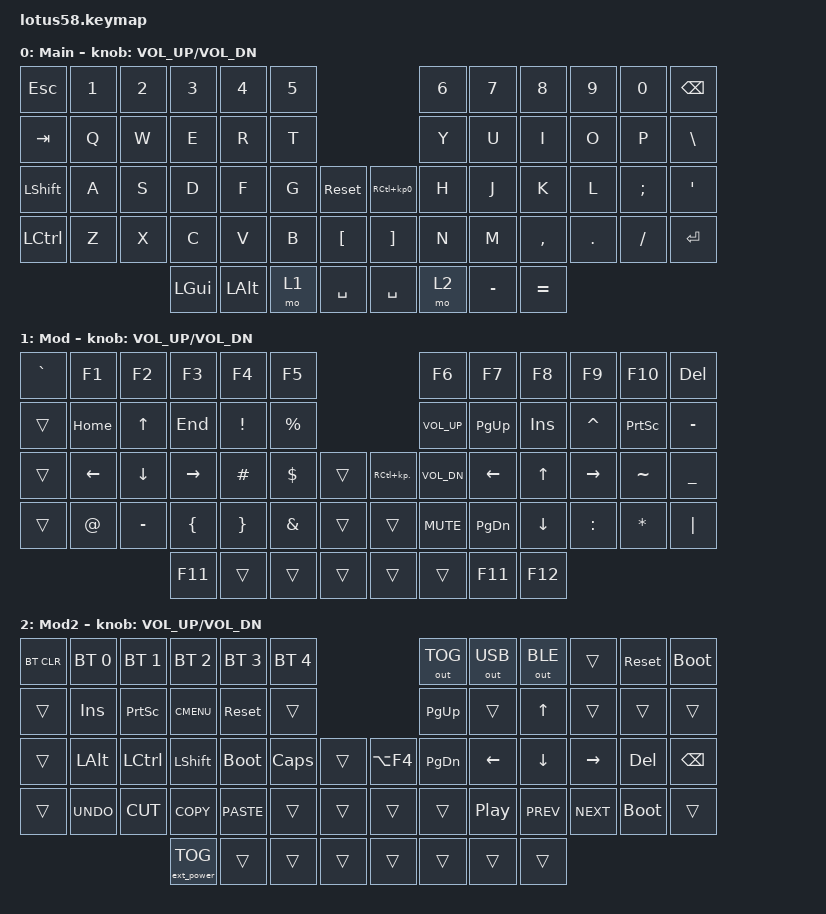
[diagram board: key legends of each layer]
/*
 * Copyright (c) 2022 The ZMK Contributors
 *
 * SPDX-License-Identifier: MIT
 */

#include <behaviors.dtsi>
#include <dt-bindings/zmk/keys.h>
#include <dt-bindings/zmk/bt.h>
#include <dt-bindings/zmk/outputs.h>
#include <dt-bindings/zmk/ext_power.h>

// &left_encoder { status = "disabled"; };
&right_encoder {
    compatible = "alps,ec11";
    a-gpios = <&pro_micro 21 (GPIO_ACTIVE_HIGH | GPIO_PULL_UP)>;
    b-gpios = <&pro_micro 20 (GPIO_ACTIVE_HIGH | GPIO_PULL_UP)>;
    steps = <40>;
};
&sensors {
  sensors = <&right_encoder>;
  triggers-per-rotation = <20>;
};

/ {
    keymap {
        compatible = "zmk,keymap";

        default_layer {
            label="Main";
//   ------------------------------------------------------------------------------------------------------------
//  0|  ESC  |  1  |  2  |  3   |  4   |  5   |                     |  6   |  7    |  8    |  9   |   0   |   =   | 11
// 12|  TAB  |  Q  |  W  |  E   |  R   |  T   |                     |  Y   |  U    |  I    |  O   |   P   |   [   | 23
// 24|  SFT  |  A  |  S  |  D   |  F   |  G   |  RESET  |  | RESET  |  H   |  J    |  K    |  L   |   ;   | ' SFT | 37
// 38|  CTRL |  Z  |  X  |  C   |  V   |  B   |  MUTE   |  | PLAY   |  N   |  M    |  ,    |  .   |   /   | \ CTRL| 51
// 52                    |ENT RS|  ALT | SPACE|DELETE LW|  |ENTER RS| BSPC |  ] LW | RGUI  |                        59
            bindings = <
&kp ESC   &kp N1 &kp N2   &kp N3     &kp N4    &kp N5                               &kp N6    &kp N7      &kp N8    &kp N9   &kp N0   &kp BSPC
&kp TAB   &kp Q  &kp W    &kp E      &kp R     &kp T                                &kp Y     &kp U       &kp I     &kp O    &kp P    &kp BSLH
&kp LSHFT &kp A  &kp S    &kp D      &kp F     &kp G      &sys_reset     &kp RC(KP_N0) &kp H     &kp J       &kp K     &kp L    &kp SEMI &kp SQT
&kp LCTRL &kp Z  &kp X    &kp C      &kp V     &kp B      &kp LBKT       &kp RBKT   &kp N     &kp M       &kp COMMA &kp DOT  &kp FSLH &kp RET
                          &kp LGUI   &kp LALT  &mo 1      &kp SPACE      &kp SPACE  &mo 2     &kp MINUS   &kp EQUAL
            >;

            sensor-bindings = <&inc_dec_kp C_VOL_UP C_VOL_DN>;
        };

        lower_layer {
            label="Mod";
// ------------------------------------------------------------------------------------------------------------
// | `     |  F1 |  F2 |  F3  |  F4  |  F5  |                   |  F6  |  F7   |  F8   |  F9  |  F10  |  F11  |
// |       |  !  | HOME|   ^  |  END |  %   |                   | VOL^ |  PGUP |  INS  |  ^   |  PSCR |   -   |
// |       |  #  |  <- |   v  | ->   |  $   |        |  |       | VOLv |    <- |   ^   |  ->  |   ~   |   _   |
// |       |  @  |  -  |  (   |  )   |  &   |        |  |       | MUTE |  PGDN |   v   |  :   |   *   |   |   |
//                     |  F11 |      |      |        |  |       |      |       |  F12  |
            bindings = <
&kp GRAVE  &kp F1    &kp F2    &kp F3      &kp F4     &kp F5                     &kp F6        &kp F7     &kp F8    &kp F9     &kp F10   &kp DEL
&trans     &kp HOME  &kp UP    &kp END     &kp EXCL   &kp PRCNT                  &kp C_VOL_UP  &kp PG_UP  &kp INS   &kp CARET  &kp PSCRN &kp MINUS
&trans     &kp LEFT  &kp DOWN  &kp RIGHT   &kp HASH   &kp DLLR  &trans   &kp RC(KP_DOT) &kp C_VOL_DN  &kp LEFT   &kp UP    &kp RIGHT  &kp TILDE &kp UNDER
&trans     &kp AT    &kp MINUS &kp LBRC    &kp RBRC   &kp AMPS  &trans   &trans  &kp C_MUTE    &kp PG_DN  &kp DOWN  &kp COLON  &kp STAR  &kp PIPE
                               &kp F11     &trans     &trans    &trans   &trans  &trans        &kp F11    &kp F12
            >;

            sensor-bindings = <&inc_dec_kp C_VOL_UP C_VOL_DN>;
        };

        raise_layer {
            label="Mod2";
// ------------------------------------------------------------------------------------------------------------
// |BTCLR| BT1  | BT2  |  BT3  |  BT4  |  BT5 |                |OUTTOG|OUTUSB| OUTBT |      | RESET | FLASH |
// |     | INS  | PSCR | GUI   | RESET |      |                | PGUP |      |   ^   |      |       |       |
// |     | ALT  | CTRL | SHIFT | FLASH | CAPS |      |  |      | PGDN |   <- |   v   |  ->  |  DEL  | BSPC  |
// |     | UNDO | CUT  | COPY  | PASTE |      |      |  |      |      |  |>  |  <|<| | |>|> |       |       |
//                     |       |       |      |      |  |      |      |      |       |
            bindings = <
&bt BT_CLR &bt BT_SEL 0 &bt BT_SEL 1 &bt BT_SEL 2 &bt BT_SEL 3 &bt BT_SEL 4                    &out OUT_TOG  &out OUT_USB  &out OUT_BLE  &trans     &sys_reset  &bootloader
&trans     &kp INS      &kp PSCRN    &kp K_CMENU  &sys_reset       &trans                      &kp PG_UP     &trans        &kp UP        &trans     &trans  &trans
&trans     &kp LALT     &kp LCTRL    &kp LSHFT    &bootloader  &kp CLCK     &trans   &kp LA(F4)    &kp PG_DN     &kp LEFT      &kp DOWN      &kp RIGHT  &kp DEL &kp BSPC
&trans     &kp K_UNDO   &kp K_CUT    &kp K_COPY   &kp K_PASTE  &trans       &trans   &trans    &trans        &kp C_PP      &kp C_PREV    &kp C_NEXT &bootloader  &trans
                                     &ext_power EP_TOG &trans  &trans       &trans   &trans    &trans        &trans        &trans
            >;

            sensor-bindings = <&inc_dec_kp C_VOL_UP C_VOL_DN>;
        };
    };
};
